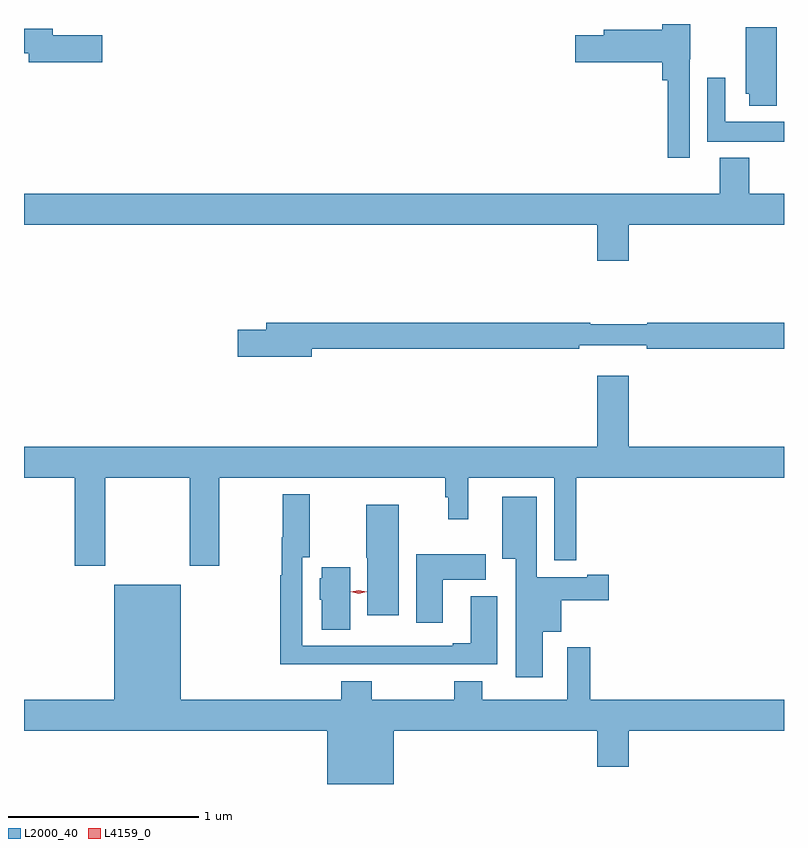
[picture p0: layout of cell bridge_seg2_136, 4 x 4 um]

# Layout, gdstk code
import gdstk
lib = gdstk.Library(unit=1e-6, precision=1e-09)
def P(c, l, *ps):  # polygons
    for p in ps: c.add(gdstk.Polygon(p, *l))
L2000_40 = (2000, 40)
L4159_0 = (4159, 0)

bridge_seg2_136 = lib.new_cell('bridge_seg2_136')
P(bridge_seg2_136, L2000_40, [(381.279,604.551),(381.28,604.551),(381.28,604.737),(381.134,604.737),(381.134,604.707),(380.825,604.707),(380.825,604.677),(380.676,604.677),(380.676,604.535),(381.134,604.535),(381.134,604.442),(381.163,604.442),(381.163,604.032),(381.279,604.032)],
  [(381.736,604.719),(381.572,604.719),(381.572,604.371),(381.59,604.371),(381.59,604.308),(381.736,604.308)],
  [(378.187,604.677),(377.926,604.677),(377.926,604.711),(377.774,604.711),(377.774,604.582),(377.798,604.582),(377.798,604.535),(378.187,604.535)],
  [(381.774,604.222),(381.465,604.222),(381.465,604.453),(381.369,604.453),(381.369,604.118),(381.673,604.118),(381.673,604.116),(381.774,604.116)],
  [(380.956,603.68),(381.774,603.68),(381.774,603.844),(381.59,603.844),(381.59,604.033),(381.437,604.033),(381.437,603.844),(377.774,603.844),(377.774,603.68),(380.792,603.68),(380.792,603.492),(380.956,603.492)],
  [(379.288,603.028),(380.696,603.028),(380.696,603.047),(381.052,603.047),(381.052,603.028),(381.774,603.028),(381.774,603.164),(381.053,603.164),(381.053,603.157),(380.753,603.157),(380.753,603.164),(379.049,603.164),(379.049,603.128),(378.9,603.128),(378.9,602.986),(379.288,602.986)],
  [(378.201,602.348),(378.646,602.348),(378.646,601.887),(378.801,601.887),(378.801,602.348),(379.992,602.348),(379.992,602.247),(380.007,602.247),(380.007,602.13),(380.113,602.13),(380.113,602.348),(380.565,602.348),(380.565,601.914),(380.681,601.914),(380.681,602.348),(381.774,602.348),(381.774,602.512),(380.956,602.512),(380.956,602.887),(380.792,602.887),(380.792,602.512),(377.774,602.512),(377.774,602.348),(378.041,602.348),(378.041,601.887),(378.201,601.887)],
  [(379.361,601.368),(379.693,601.368),(379.693,601.367),(379.949,601.367),(379.949,601.368),(380.266,601.368),(380.266,601.726),(380.126,601.726),(380.126,601.477),(380.03,601.477),(380.03,601.464),(379.239,601.464),(379.239,601.931),(379.279,601.931),(379.279,602.263),(379.135,602.263),(379.135,602.035),(379.131,602.035),(379.131,601.835),(379.123,601.835),(379.123,601.367),(379.361,601.367)],
  [(380.503,601.538),(380.602,601.538),(380.602,601.703),(380.851,601.703),(380.851,601.838),(380.738,601.838),(380.738,601.825),(380.473,601.825),(380.473,602.248),(380.291,602.248),(380.291,601.922),(380.363,601.922),(380.363,601.299),(380.503,601.299)],
  [(379.747,602.206),(379.574,602.206),(379.574,601.929),(379.58,601.929),(379.58,601.626),(379.747,601.626)],
  [(379.978,601.811),(380.203,601.811),(380.203,601.945),(379.838,601.945),(379.838,601.587),(379.978,601.587)],
  [(379.492,601.878),(379.34,601.878),(379.34,601.821),(379.331,601.821),(379.331,601.707),(379.34,601.707),(379.34,601.549),(379.492,601.549)],
  [(378.248,601.786),(378.248,601.18),(377.774,601.18),(377.774,601.016),(379.37,601.016),(379.37,600.737),(379.72,600.737),(379.72,601.016),(380.792,601.016),(380.792,600.828),(380.956,600.828),(380.956,601.016),(381.774,601.016),(381.774,601.18),(380.755,601.18),(380.755,601.456),(380.633,601.456),(380.633,601.18),(380.185,601.18),(380.185,601.279),(380.038,601.279),(380.038,601.18),(379.605,601.18),(379.605,601.279),(379.445,601.279),(379.445,601.18),(378.598,601.18),(378.598,601.786)])
P(bridge_seg2_136, L4159_0, [(379.536,601.738),(379.495,601.749),(379.495,601.749),(379.495,601.749),(379.536,601.758),(379.577,601.748),(379.577,601.748),(379.577,601.748)])

lib.write_gds('bridge_seg2_136.gds')
